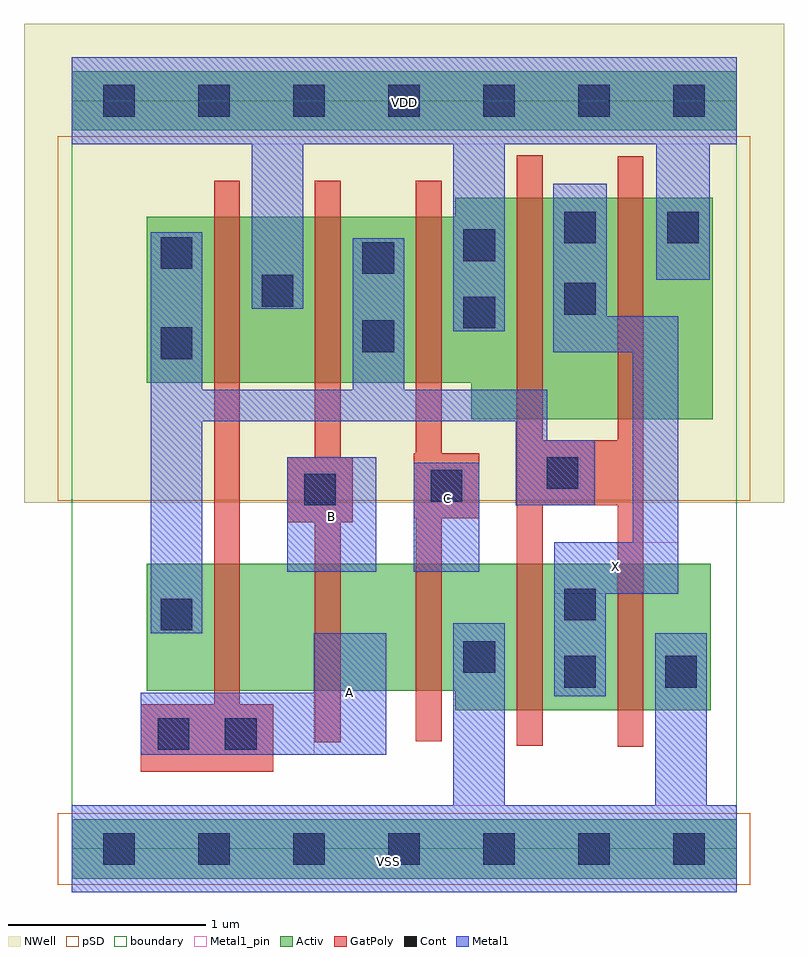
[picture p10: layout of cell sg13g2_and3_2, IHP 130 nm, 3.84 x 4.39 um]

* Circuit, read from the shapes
.subckt sg13g2_and3_2 A B C VDD VSS X
XM1 n1 A n2 VSS sg13_lv_nmos w=0.64u l=0.13u
XM2 n3 B n1 VSS sg13_lv_nmos w=0.64u l=0.13u
XM3 VSS C n3 VSS sg13_lv_nmos w=0.64u l=0.13u
XM4 X n2 VSS VSS sg13_lv_nmos w=0.74u l=0.13u m=2
XM5 VDD A n2 VDD sg13_lv_pmos w=0.84u l=0.13u
XM6 n2 B VDD VDD sg13_lv_pmos w=0.84u l=0.13u
XM7 VDD C n2 VDD sg13_lv_pmos w=0.84u l=0.13u
XM8 X n2 VDD VDD sg13_lv_pmos w=1.12u l=0.13u m=2
.ends

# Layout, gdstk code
import gdstk
lib = gdstk.Library(unit=1e-6, precision=1e-09)
def R(c, l, rs):  # rectangles x0, y0, x1, y1
    for r in rs: c.add(gdstk.rectangle(r[:2], r[2:], *l))
def P(c, l, *ps):  # polygons
    for p in ps: c.add(gdstk.Polygon(p, *l))
Activ = (1, 0)
GatPoly = (5, 0)
Cont = (6, 0)
Metal1 = (8, 0)
Metal1_pin = (8, 2)
pSD = (14, 0)
NWell = (31, 0)
boundary = (189, 4)

sg13g2_and3_2 = lib.new_cell('sg13g2_and3_2')
R(sg13g2_and3_2, Activ, [(0,-0.15,3.36,0.15), (0,3.63,3.36,3.93)])
P(sg13g2_and3_2, Activ, [(2.02,2.17),(2.02,2.355),(0.38,2.355),(0.38,3.195),(1.94,3.195),(1.94,3.29),(3.24,3.29),(3.24,2.17)],
  [(1.94,0.7),(1.94,0.8),(0.38,0.8),(0.38,1.44),(3.23,1.44),(3.23,0.7)])
R(sg13g2_and3_2, GatPoly, [(2.76,0.515,2.89,3.5), (2.25,0.52,2.38,3.505), (2.25,1.735,2.89,2.065)])
P(sg13g2_and3_2, GatPoly, [(0.35,0.39),(0.35,0.73),(0.72,0.73),(0.72,3.375),(0.85,3.375),(0.85,0.73),(1.02,0.73),(1.02,0.39)],
  [(1.23,0.54),(1.23,1.65),(1.09,1.65),(1.09,1.98),(1.23,1.98),(1.23,3.375),(1.36,3.375),(1.36,1.98),(1.42,1.98),(1.42,1.65),(1.36,1.65),(1.36,0.54)],
  [(1.74,0.545),(1.74,1.67),(1.73,1.67),(1.73,2),(1.74,2),(1.74,3.375),(1.87,3.375),(1.87,2),(2.06,2),(2.06,1.67),(1.87,1.67),(1.87,0.545)])
R(sg13g2_and3_2, Cont, [(0.16,-0.08,0.32,0.08), (0.16,-0.08,0.32,0.08), (0.64,-0.08,0.8,0.08), (0.64,-0.08,0.8,0.08), (1.12,-0.08,1.28,0.08), (1.12,-0.08,1.28,0.08), (1.6,-0.08,1.76,0.08), (1.6,-0.08,1.76,0.08), (2.08,-0.08,2.24,0.08), (2.08,-0.08,2.24,0.08), (2.56,-0.08,2.72,0.08), (2.56,-0.08,2.72,0.08), (3.04,-0.08,3.2,0.08), (3.04,-0.08,3.2,0.08), (0.435,0.5,0.595,0.66), (0.775,0.5,0.935,0.66), (2.49,0.815,2.65,0.975), (3,0.815,3.16,0.975), (1.98,0.89,2.14,1.05), (0.45,1.105,0.61,1.265), (2.49,1.155,2.65,1.315), (1.175,1.735,1.335,1.895), (1.815,1.755,1.975,1.915), (2.4,1.82,2.56,1.98), (0.45,2.475,0.61,2.635), (1.47,2.51,1.63,2.67), (1.98,2.63,2.14,2.79), (2.49,2.7,2.65,2.86), (0.96,2.74,1.12,2.9), (1.47,2.905,1.63,3.065), (0.45,2.93,0.61,3.09), (1.98,2.97,2.14,3.13), (2.49,3.06,2.65,3.22), (3.01,3.06,3.17,3.22), (0.16,3.7,0.32,3.86), (0.16,3.7,0.32,3.86), (0.64,3.7,0.8,3.86), (0.64,3.7,0.8,3.86), (1.12,3.7,1.28,3.86), (1.12,3.7,1.28,3.86), (1.6,3.7,1.76,3.86), (1.6,3.7,1.76,3.86), (2.08,3.7,2.24,3.86), (2.08,3.7,2.24,3.86), (2.56,3.7,2.72,3.86), (2.56,3.7,2.72,3.86), (3.04,3.7,3.2,3.86), (3.04,3.7,3.2,3.86)])
R(sg13g2_and3_2, Metal1, [(1.09,1.4,1.54,1.98), (1.73,1.4,2.06,1.95)])
P(sg13g2_and3_2, Metal1, [(0.4,1.09),(0.4,3.115),(0.66,3.115),(0.66,2.32),(1.42,2.32),(1.42,3.085),(1.68,3.085),(1.68,2.32),(2.405,2.32),(2.405,2.065),(2.645,2.065),(2.645,1.735),(2.245,1.735),(2.245,2.16),(0.66,2.16),(0.66,1.09)],
  [(0,-0.22),(0,0.22),(1.93,0.22),(1.93,1.14),(2.19,1.14),(2.19,0.22),(2.95,0.22),(2.95,1.09),(3.21,1.09),(3.21,0.22),(3.36,0.22),(3.36,-0.22)],
  [(1.93,2.615),(1.93,3.56),(1.17,3.56),(1.17,2.73),(0.91,2.73),(0.91,3.56),(0,3.56),(0,4),(3.36,4),(3.36,3.56),(3.225,3.56),(3.225,2.875),(2.955,2.875),(2.955,3.56),(2.19,3.56),(2.19,2.615)],
  [(2.44,0.77),(2.44,1.55),(2.835,1.55),(2.835,2.51),(2.435,2.51),(2.435,3.36),(2.705,3.36),(2.705,2.69),(3.065,2.69),(3.065,1.29),(2.7,1.29),(2.7,0.77)],
  [(0.35,0.475),(0.35,0.79),(1.225,0.79),(1.225,1.09),(1.59,1.09),(1.59,0.475)])
R(sg13g2_and3_2, Metal1_pin, [(0,-0.22,3.36,0.22), (1.225,0.475,1.59,1.09), (2.44,1.29,3.065,1.55), (1.09,1.4,1.54,1.98), (1.73,1.4,2.06,1.95), (0,3.56,3.36,4)])
R(sg13g2_and3_2, pSD, [(-0.07,-0.18,3.43,0.18), (-0.07,1.76,3.43,3.6)])
R(sg13g2_and3_2, NWell, [(-0.24,1.75,3.6,4.17)])
R(sg13g2_and3_2, boundary, [(0,0,3.36,3.78)])
sg13g2_and3_2.add(gdstk.Label('X', (2.75,1.425), layer=8, texttype=25))
sg13g2_and3_2.add(gdstk.Label('B', (1.315,1.68), layer=8, texttype=25))
sg13g2_and3_2.add(gdstk.Label('VDD', (1.68,3.77), layer=8, texttype=25))
sg13g2_and3_2.add(gdstk.Label('VSS', (1.6,-0.065), layer=8, texttype=25))
sg13g2_and3_2.add(gdstk.Label('C', (1.9,1.77), layer=8, texttype=25))
sg13g2_and3_2.add(gdstk.Label('A', (1.405,0.79), layer=8, texttype=25))

lib.write_gds('sg13g2_and3_2.gds')
